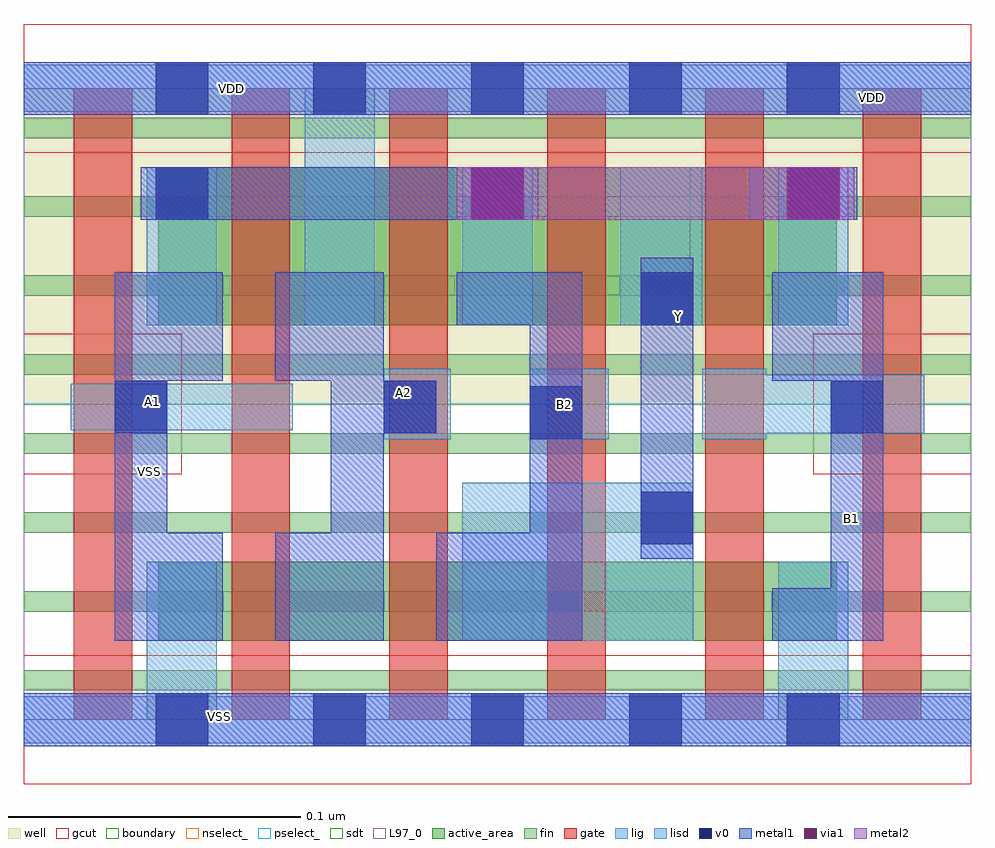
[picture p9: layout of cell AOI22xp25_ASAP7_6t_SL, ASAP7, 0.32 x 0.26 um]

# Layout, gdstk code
import gdstk
lib = gdstk.Library(unit=1e-6, precision=2.5e-10)
def R(c, l, rs):  # rectangles x0, y0, x1, y1
    for r in rs: c.add(gdstk.rectangle(r[:2], r[2:], *l))
def A(c, l, x, y, w, h, nx, ny, dx, dy):  # array of equal rectangles
    R(c, l, [(x+i*dx, y+j*dy, x+i*dx+w, y+j*dy+h) for i in range(nx) for j in range(ny)])
def P(c, l, *ps):  # polygons
    for p in ps: c.add(gdstk.Polygon(p, *l))
well = (1, 0)
fin = (2, 0)
gate = (7, 0)
gcut = (10, 0)
active_area = (11, 0)
nselect_ = (12, 0)
pselect_ = (13, 0)
lig = (16, 0)
lisd = (17, 0)
v0 = (18, 0)
metal1 = (19, 0)
metal2 = (20, 0)
via1 = (21, 0)
sdt = (88, 0)
L97_0 = (97, 0)
boundary = (100, 0)

aoi22xp25_asap7_6t_sl = lib.new_cell('AOI22xp25_ASAP7_6t_SL')
R(aoi22xp25_asap7_6t_sl, well, [(0,0.108,0.324,0.216)])
A(aoi22xp25_asap7_6t_sl, fin, 0, 0.01, 0.324, 0.007, 1, 8, 0, 0.027)
A(aoi22xp25_asap7_6t_sl, gate, 0.017, 0, 0.02, 0.216, 6, 1, 0.054, 0)
R(aoi22xp25_asap7_6t_sl, gcut, [(0,-0.022,0.324,0.022), (0,0.084,0.054,0.132), (0.27,0.084,0.324,0.132), (0,0.194,0.324,0.238)])
R(aoi22xp25_asap7_6t_sl, active_area, [(0.046,0.027,0.278,0.054), (0.046,0.135,0.278,0.189)])
R(aoi22xp25_asap7_6t_sl, nselect_, [(0,0,0.324,0.108)])
R(aoi22xp25_asap7_6t_sl, pselect_, [(0,0.108,0.324,0.216)])
R(aoi22xp25_asap7_6t_sl, lig, [(0,-0.008,0.324,0.008), (0.123,0.096,0.146,0.12), (0.173,0.096,0.2,0.12), (0.016,0.099,0.092,0.115), (0,0.208,0.324,0.224)])
P(aoi22xp25_asap7_6t_sl, lig, [(0.308,0.118),(0.254,0.118),(0.254,0.12),(0.232,0.12),(0.232,0.096),(0.254,0.096),(0.254,0.098),(0.308,0.098)])
A(aoi22xp25_asap7_6t_sl, lisd, 0.042, 0.135, 0.024, 0.054, 3, 1, 0.108, 0)
R(aoi22xp25_asap7_6t_sl, lisd, [(0.042,0,0.066,0.054), (0.258,0,0.282,0.054), (0.15,0.027,0.229,0.081), (0.096,0.135,0.12,0.216), (0.204,0.135,0.232,0.189)])
A(aoi22xp25_asap7_6t_sl, v0, 0.045, -0.009, 0.018, 0.018, 5, 2, 0.054, 0.216)
A(aoi22xp25_asap7_6t_sl, v0, 0.045, 0.171, 0.018, 0.018, 3, 1, 0.108, 0)
R(aoi22xp25_asap7_6t_sl, v0, [(0.211,0.06,0.229,0.078), (0.173,0.096,0.191,0.114), (0.031,0.098,0.049,0.116), (0.123,0.098,0.141,0.116), (0.276,0.098,0.294,0.116), (0.211,0.135,0.229,0.153)])
R(aoi22xp25_asap7_6t_sl, metal1, [(0,-0.009,0.324,0.009), (0.211,0.055,0.229,0.158), (0.04,0.171,0.176,0.189), (0.248,0.171,0.285,0.189), (0,0.207,0.324,0.225)])
P(aoi22xp25_asap7_6t_sl, metal1, [(0.191,0.153),(0.148,0.153),(0.148,0.135),(0.173,0.135),(0.173,0.064),(0.141,0.064),(0.141,0.027),(0.191,0.027)],
  [(0.294,0.153),(0.256,0.153),(0.256,0.116),(0.276,0.116),(0.276,0.045),(0.256,0.045),(0.256,0.027),(0.294,0.027)],
  [(0.141,0.116),(0.123,0.116),(0.123,0.153),(0.086,0.153),(0.086,0.116),(0.105,0.116),(0.105,0.064),(0.086,0.064),(0.086,0.027),(0.123,0.027),(0.123,0.098),(0.141,0.098)],
  [(0.031,0.027),(0.068,0.027),(0.068,0.064),(0.049,0.064),(0.049,0.116),(0.068,0.116),(0.068,0.153),(0.031,0.153)])
R(aoi22xp25_asap7_6t_sl, metal2, [(0.148,0.171,0.284,0.189)])
R(aoi22xp25_asap7_6t_sl, via1, [(0.153,0.171,0.171,0.189), (0.261,0.171,0.279,0.189)])
A(aoi22xp25_asap7_6t_sl, sdt, 0.042, 0.027, 0.024, 0.027, 3, 1, 0.108, 0)
A(aoi22xp25_asap7_6t_sl, sdt, 0.042, 0.135, 0.024, 0.054, 5, 1, 0.054, 0)
R(aoi22xp25_asap7_6t_sl, L97_0, [(0,0,0.324,0.216)])
R(aoi22xp25_asap7_6t_sl, boundary, [(0,0,0.324,0.216)])
aoi22xp25_asap7_6t_sl.add(gdstk.Label('VDD', (0.29,0.213), layer=1, texttype=251))
aoi22xp25_asap7_6t_sl.add(gdstk.Label('VSS', (0.067,0.001), layer=19, texttype=251))
aoi22xp25_asap7_6t_sl.add(gdstk.Label('VDD', (0.071,0.216), layer=19, texttype=251))
aoi22xp25_asap7_6t_sl.add(gdstk.Label('Y', (0.224,0.138), layer=19, texttype=251))
aoi22xp25_asap7_6t_sl.add(gdstk.Label('B1', (0.283,0.069), layer=19, texttype=251))
aoi22xp25_asap7_6t_sl.add(gdstk.Label('B2', (0.185,0.108), layer=19, texttype=251))
aoi22xp25_asap7_6t_sl.add(gdstk.Label('A1', (0.044,0.109), layer=19, texttype=251))
aoi22xp25_asap7_6t_sl.add(gdstk.Label('A2', (0.13,0.112), layer=19, texttype=251))
aoi22xp25_asap7_6t_sl.add(gdstk.Label('VSS', (0.043,0.085), layer=3, texttype=251))

lib.write_gds('AOI22xp25_ASAP7_6t_SL.gds')
